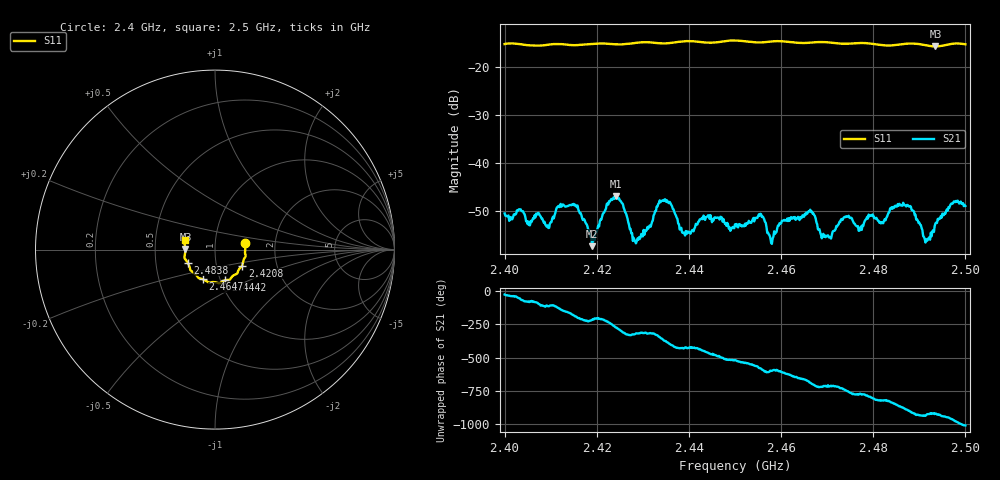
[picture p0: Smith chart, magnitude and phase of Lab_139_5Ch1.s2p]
# Hz S RI R 50
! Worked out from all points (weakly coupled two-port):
!   601 points, 2.4 GHz to 2.5 GHz, reference 50 ohm
!   highest |S21| = -46.91 dB at 2.4242 GHz (marker M1); lowest = -57.3 dB at 2.419 GHz (marker M2)
!   lowest |S11| = -15.7 dB at 2.4935 GHz (marker M3), VSWR 1.39, Z = 35.9 + j0.16 ohm
!   |S11| at or under -10 dB: start of sweep to end of sweep
!   S12 and S22 are empty: the file has one direction only
!   S11 on the Smith chart (normalised r, x): 2.4 GHz: 1.40, +0.11; 2.4208 GHz: 1.33, -0.25; 2.4442 GHz: 1.05, -0.37; 2.4647 GHz: 0.83, -0.28; 2.4838 GHz: 0.73, -0.11; 2.5 GHz: 0.71, +0.08
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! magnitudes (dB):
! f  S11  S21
! 2.4 GHz  -15.2  -50.5
! 2.4167 GHz  -15.3  -50.8
! 2.419 GHz  -15.1  -57.3
! 2.4208 GHz  -15.1  -51.7
! 2.4242 GHz  -15.2  -46.9
! 2.4283 GHz  -14.9  -56.3
! 2.4333 GHz  -15.0  -48.5
! 2.4357 GHz  -15.0  -48.3
! 2.439 GHz  -14.6  -54.6
! 2.4442 GHz  -14.9  -50.9
! 2.45 GHz  -14.4  -52.7
! 2.4557 GHz  -14.8  -50.6
! 2.4578 GHz  -14.7  -56.5
! 2.4647 GHz  -15.0  -50.9
! 2.4667 GHz  -14.9  -50.0
! 2.4703 GHz  -14.8  -55.5
! 2.4833 GHz  -15.5  -50.3
! 2.4838 GHz  -15.5  -49.5
! 2.4878 GHz  -15.1  -49.0
! 2.4915 GHz  -15.5  -55.8
! 2.4935 GHz  -15.7  -52.6
! 2.5 GHz  -15.2  -48.9
